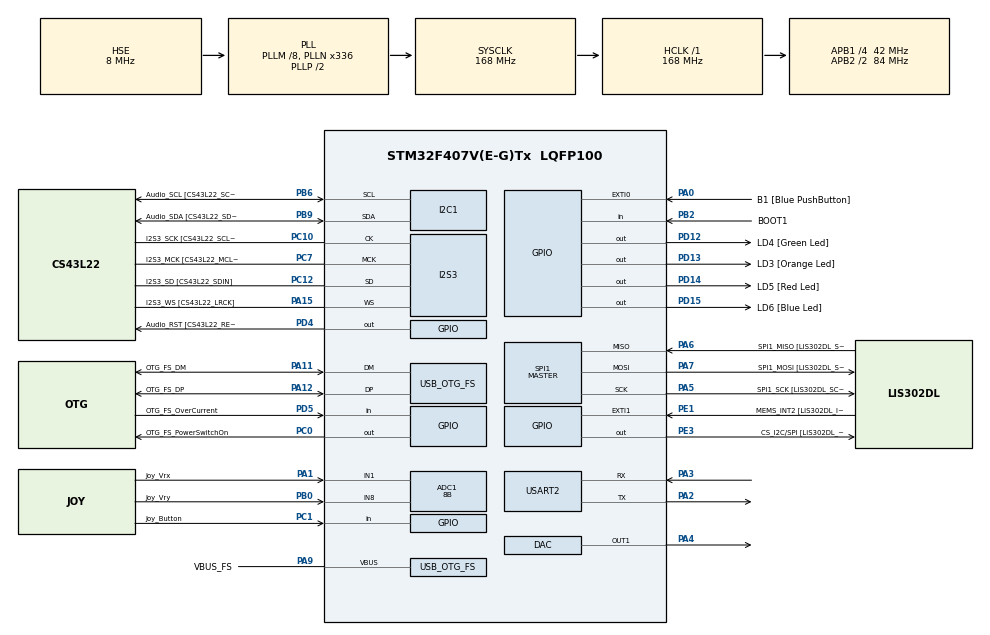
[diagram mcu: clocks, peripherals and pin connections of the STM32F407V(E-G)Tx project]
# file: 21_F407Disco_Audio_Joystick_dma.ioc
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ADC1.Channel-0\#ChannelRegularConversion=ADC_CHANNEL_1
ADC1.Channel-1\#ChannelRegularConversion=ADC_CHANNEL_8
ADC1.ClockPrescaler=ADC_CLOCK_SYNC_PCLK_DIV8
ADC1.ContinuousConvMode=ENABLE
ADC1.DMAContinuousRequests=ENABLE
ADC1.NbrOfConversion=2
ADC1.NbrOfConversionFlag=1
ADC1.Rank-0\#ChannelRegularConversion=1
ADC1.Rank-1\#ChannelRegularConversion=2
ADC1.Resolution=ADC_RESOLUTION_8B
ADC1.SamplingTime-0\#ChannelRegularConversion=ADC_SAMPLETIME_480CYCLES
ADC1.SamplingTime-1\#ChannelRegularConversion=ADC_SAMPLETIME_480CYCLES
ADC1.ScanConvMode=ENABLE
ADC1.master=1
Dma.ADC1.1.Direction=DMA_PERIPH_TO_MEMORY
Dma.ADC1.1.FIFOMode=DMA_FIFOMODE_DISABLE
Dma.ADC1.1.Instance=DMA2_Stream0
Dma.ADC1.1.MemDataAlignment=DMA_MDATAALIGN_BYTE
Dma.ADC1.1.MemInc=DMA_MINC_ENABLE
Dma.ADC1.1.Mode=DMA_CIRCULAR
Dma.ADC1.1.PeriphDataAlignment=DMA_PDATAALIGN_BYTE
Dma.ADC1.1.PeriphInc=DMA_PINC_DISABLE
Dma.ADC1.1.Priority=DMA_PRIORITY_LOW
Dma.Request0=SPI3_TX
Dma.Request1=ADC1
Dma.SPI3_TX.0.Direction=DMA_MEMORY_TO_PERIPH
Dma.SPI3_TX.0.FIFOMode=DMA_FIFOMODE_ENABLE
Dma.SPI3_TX.0.FIFOThreshold=DMA_FIFO_THRESHOLD_FULL
Dma.SPI3_TX.0.Instance=DMA1_Stream5
Dma.SPI3_TX.0.MemBurst=DMA_MBURST_SINGLE
Dma.SPI3_TX.0.MemDataAlignment=DMA_MDATAALIGN_HALFWORD
Dma.SPI3_TX.0.MemInc=DMA_MINC_ENABLE
Dma.SPI3_TX.0.Mode=DMA_CIRCULAR
Dma.SPI3_TX.0.PeriphBurst=DMA_PBURST_SINGLE
Dma.SPI3_TX.0.PeriphDataAlignment=DMA_PDATAALIGN_HALFWORD
Dma.SPI3_TX.0.PeriphInc=DMA_PINC_DISABLE
Dma.SPI3_TX.0.Priority=DMA_PRIORITY_LOW
I2S3.AudioFreq=I2S_AUDIOFREQ_48K
I2S3.ErrorAudioFreq=-2.34 %
I2S3.FullDuplexMode=I2S_FULLDUPLEXMODE_DISABLE
I2S3.Instance=SPI$Index
I2S3.RealAudioFreq=46.875 KHz
I2S3.VirtualMode=I2S_MODE_MASTER
Mcu.Family=STM32F4
Mcu.Name=STM32F407V(E-G)Tx
Mcu.Package=LQFP100
NVIC.DMA1_Stream5_IRQn=true\:0\:0\:false\:false\:true\:false\:true
NVIC.DMA2_Stream0_IRQn=true\:0\:0\:false\:false\:true\:false\:true
NVIC.OTG_FS_IRQn=true\:0\:0\:false\:false\:true\:true\:true
NVIC.PriorityGroup=NVIC_PRIORITYGROUP_0
NVIC.TIM2_IRQn=true\:0\:0\:false\:false\:true\:true\:true
PA0-WKUP.GPIO_Label=B1 [Blue PushButton]
PA0-WKUP.GPIO_ModeDefaultEXTI=GPIO_MODE_EVT_RISING
PA0-WKUP.GPIO_PuPd=GPIO_NOPULL
PA0-WKUP.Signal=GPXTI0
PA1.GPIO_Label=Joy_Vrx
PA1.Signal=ADCx_IN1
PA10.GPIO_Label=OTG_FS_ID
PA10.GPIO_Mode=GPIO_MODE_AF_PP
PA10.GPIO_PuPd=GPIO_NOPULL
PA10.GPIO_Speed=GPIO_SPEED_FREQ_LOW
PA10.Signal=USB_OTG_FS_ID
PA11.GPIO_Label=OTG_FS_DM
PA11.GPIO_Mode=GPIO_MODE_AF_PP
PA11.GPIO_PuPd=GPIO_NOPULL
PA11.GPIO_Speed=GPIO_SPEED_FREQ_LOW
PA11.Mode=Host_Only
PA11.Signal=USB_OTG_FS_DM
PA12.GPIO_Label=OTG_FS_DP
PA12.GPIO_Mode=GPIO_MODE_AF_PP
PA12.GPIO_PuPd=GPIO_NOPULL
PA12.GPIO_Speed=GPIO_SPEED_FREQ_LOW
PA12.Mode=Host_Only
PA12.Signal=USB_OTG_FS_DP
PA13.GPIO_Label=SWDIO
PA13.Mode=Serial_Wire
PA13.Signal=SYS_JTMS-SWDIO
PA14.GPIO_Label=SWCLK
PA14.Mode=Serial_Wire
PA14.Signal=SYS_JTCK-SWCLK
PA15.GPIO_Label=I2S3_WS [CS43L22_LRCK]
PA15.GPIO_Mode=GPIO_MODE_AF_PP
PA15.GPIO_PuPd=GPIO_NOPULL
PA15.GPIO_Speed=GPIO_SPEED_FREQ_LOW
PA15.Mode=Half_Duplex_Master
PA15.Signal=I2S3_WS
PA2.Mode=Asynchronous
PA2.Signal=USART2_TX
PA3.Mode=Asynchronous
PA3.Signal=USART2_RX
PA4.Signal=COMP_DAC1_group
PA5.GPIO_Label=SPI1_SCK [LIS302DL_SCL/SPC]
PA5.GPIO_Mode=GPIO_MODE_AF_PP
PA5.GPIO_PuPd=GPIO_NOPULL
PA5.GPIO_Speed=GPIO_SPEED_FREQ_LOW
PA5.Mode=Full_Duplex_Master
PA5.Signal=SPI1_SCK
PA6.GPIO_Label=SPI1_MISO [LIS302DL_SDO]
PA6.GPIO_Mode=GPIO_MODE_AF_PP
PA6.GPIO_PuPd=GPIO_NOPULL
PA6.GPIO_Speed=GPIO_SPEED_FREQ_LOW
PA6.Mode=Full_Duplex_Master
PA6.Signal=SPI1_MISO
PA7.GPIO_Label=SPI1_MOSI [LIS302DL_SDA/SDI/SDO]
PA7.GPIO_Mode=GPIO_MODE_AF_PP
PA7.GPIO_PuPd=GPIO_NOPULL
PA7.GPIO_Speed=GPIO_SPEED_FREQ_LOW
PA7.Mode=Full_Duplex_Master
PA7.Signal=SPI1_MOSI
PA9.GPIO_Label=VBUS_FS
PA9.GPIO_Mode=GPIO_MODE_INPUT
PA9.GPIO_PuPd=GPIO_NOPULL
PA9.Mode=Activate_VBUS
PA9.Signal=USB_OTG_FS_VBUS
PB0.GPIO_Label=Joy_Vry
PB0.Signal=ADCx_IN8
PB10.GPIO_Label=CLK_IN [MP45DT02_CLK]
PB10.GPIO_Mode=GPIO_MODE_AF_PP
PB10.GPIO_PuPd=GPIO_NOPULL
PB10.GPIO_Speed=GPIO_SPEED_FREQ_LOW
PB10.Signal=I2S2_CK
PB2.GPIO_Label=BOOT1
PB2.GPIO_Mode=GPIO_MODE_INPUT
PB2.GPIO_PuPd=GPIO_NOPULL
PB2.Signal=GPIO_Input
PB3.GPIO_Label=SWO
PB3.Signal=SYS_JTDO-SWO
PB6.GPIO_Label=Audio_SCL [CS43L22_SCL]
PB6.GPIO_Mode=GPIO_MODE_AF_OD
PB6.GPIO_PuPd=GPIO_NOPULL
PB6.GPIO_Speed=GPIO_SPEED_FREQ_LOW
PB6.Mode=I2C
PB6.Signal=I2C1_SCL
PB9.GPIO_Label=Audio_SDA [CS43L22_SDA]
PB9.GPIO_Mode=GPIO_MODE_AF_OD
PB9.GPIO_PuPd=GPIO_NOPULL
PB9.GPIO_Speed=GPIO_SPEED_FREQ_LOW
PB9.Mode=I2C
PB9.Signal=I2C1_SDA
PC0.GPIO_Label=OTG_FS_PowerSwitchOn
PC0.GPIO_PuPd=GPIO_NOPULL
PC0.GPIO_Speed=GPIO_SPEED_FREQ_LOW
PC0.PinState=GPIO_PIN_SET
PC0.Signal=GPIO_Output
PC1.GPIO_Label=Joy_Button
PC1.Signal=GPIO_Input
PC10.GPIO_Label=I2S3_SCK [CS43L22_SCLK]
PC10.GPIO_Mode=GPIO_MODE_AF_PP
PC10.GPIO_PuPd=GPIO_NOPULL
PC10.GPIO_Speed=GPIO_SPEED_FREQ_LOW
PC10.Mode=Half_Duplex_Master
PC10.Signal=I2S3_CK
PC12.GPIO_Label=I2S3_SD [CS43L22_SDIN]
PC12.GPIO_Mode=GPIO_MODE_AF_PP
PC12.GPIO_PuPd=GPIO_NOPULL
PC12.GPIO_Speed=GPIO_SPEED_FREQ_LOW
PC12.Mode=Half_Duplex_Master
PC12.Signal=I2S3_SD
PC14-OSC32_IN.GPIO_Label=PC14-OSC32_IN
PC14-OSC32_IN.Signal=RCC_OSC32_IN
PC15-OSC32_OUT.GPIO_Label=PC15-OSC32_OUT
PC15-OSC32_OUT.Signal=RCC_OSC32_OUT
PC3.GPIO_Label=PDM_OUT [MP45DT02_DOUT]
PC3.GPIO_Mode=GPIO_MODE_AF_PP
PC3.GPIO_PuPd=GPIO_NOPULL
PC3.GPIO_Speed=GPIO_SPEED_FREQ_LOW
PC3.Signal=I2S2_SD
PC7.GPIO_Label=I2S3_MCK [CS43L22_MCLK]
PC7.GPIO_Mode=GPIO_MODE_AF_PP
PC7.GPIO_PuPd=GPIO_NOPULL
PC7.GPIO_Speed=GPIO_SPEED_FREQ_LOW
PC7.Mode=Master_Clock_Activated
PC7.Signal=I2S3_MCK
PD12.GPIO_Label=LD4 [Green Led]
PD12.GPIO_PuPd=GPIO_NOPULL
PD12.GPIO_Speed=GPIO_SPEED_FREQ_LOW
PD12.Signal=GPIO_Output
PD13.GPIO_Label=LD3 [Orange Led]
PD13.GPIO_PuPd=GPIO_NOPULL
PD13.GPIO_Speed=GPIO_SPEED_FREQ_LOW
PD13.Signal=GPIO_Output
PD14.GPIO_Label=LD5 [Red Led]
PD14.GPIO_PuPd=GPIO_NOPULL
PD14.GPIO_Speed=GPIO_SPEED_FREQ_LOW
PD14.Signal=GPIO_Output
PD15.GPIO_Label=LD6 [Blue Led]
PD15.GPIO_PuPd=GPIO_NOPULL
PD15.GPIO_Speed=GPIO_SPEED_FREQ_LOW
PD15.Signal=GPIO_Output
PD4.GPIO_Label=Audio_RST [CS43L22_RESET]
PD4.GPIO_PuPd=GPIO_NOPULL
PD4.GPIO_Speed=GPIO_SPEED_FREQ_LOW
PD4.Signal=GPIO_Output
PD5.GPIO_Label=OTG_FS_OverCurrent
PD5.GPIO_Mode=GPIO_MODE_INPUT
PD5.GPIO_PuPd=GPIO_NOPULL
PD5.Signal=GPIO_Input
PE1.GPIO_Label=MEMS_INT2 [LIS302DL_INT2]
PE1.GPIO_ModeDefaultEXTI=GPIO_MODE_EVT_RISING
PE1.GPIO_PuPd=GPIO_NOPULL
PE1.Signal=GPXTI1
PE3.GPIO_Label=CS_I2C/SPI [LIS302DL_CS_I2C/SPI]
PE3.GPIO_PuPd=GPIO_NOPULL
PE3.GPIO_Speed=GPIO_SPEED_FREQ_LOW
PE3.Signal=GPIO_Output
PH0-OSC_IN.GPIO_Label=PH0-OSC_IN
PH0-OSC_IN.Mode=HSE-External-Oscillator
PH0-OSC_IN.Signal=RCC_OSC_IN
PH1-OSC_OUT.GPIO_Label=PH1-OSC_OUT
PH1-OSC_OUT.Mode=HSE-External-Oscillator
PH1-OSC_OUT.Signal=RCC_OSC_OUT
ProjectManager.HeapSize=0x200
ProjectManager.StackSize=0x400
ProjectManager.TargetToolchain=SW4STM32
RCC.48MHZClocksFreq_Value=48000000
RCC.AHBFreq_Value=168000000
RCC.APB1CLKDivider=RCC_HCLK_DIV4
RCC.APB1Freq_Value=42000000
RCC.APB1TimFreq_Value=84000000
RCC.APB2CLKDivider=RCC_HCLK_DIV2
RCC.APB2Freq_Value=84000000
RCC.APB2TimFreq_Value=168000000
RCC.CortexFreq_Value=168000000
RCC.HCLKFreq_Value=168000000
RCC.HSE_VALUE=8000000
RCC.HSI_VALUE=16000000
RCC.LSE_VALUE=32768
RCC.PLLM=8
RCC.PLLN=336
RCC.PLLQ=7
RCC.SYSCLKFreq_VALUE=168000000
RCC.SYSCLKSource=RCC_SYSCLKSOURCE_PLLCLK
RCC.VCOOutputFreq_Value=336000000
SH.ADCx_IN1.0=ADC1_IN1,IN1
SH.ADCx_IN8.0=ADC1_IN8,IN8
SH.COMP_DAC1_group.0=DAC_OUT1,DAC_OUT1
SPI1.BaudRatePrescaler-Full_Duplex_Master=SPI_BAUDRATEPRESCALER_2
SPI1.CalculateBaudRate-Full_Duplex_Master=42.0 MBits/s
SPI1.Direction=SPI_DIRECTION_2LINES
SPI1.Mode=SPI_MODE_MASTER
SPI1.Mode-Full_Duplex_Master=SPI_MODE_MASTER
SPI1.VirtualType=VM_MASTER
TIM2.Period=2-1
TIM2.Prescaler=84-1
TIM2.TIM_MasterOutputTrigger=TIM_TRGO_UPDATE
USART2.VirtualMode=VM_ASYNC
USB_HOST.BSP.number=1
USB_HOST.USBH_HandleTypeDef-CDC_FS=hUsbHostFS
USB_HOST.VirtualModeFS=Cdc
USB_HOST0.BSP.STBoard=false
USB_HOST0.BSP.api=Unknown
USB_HOST0.BSP.i2caddr=0
USB_HOST0.BSP.i2creg=0
USB_HOST0.BSP.instance=PC0
USB_HOST0.BSP.ip=GPIO
USB_HOST0.BSP.mode=Output
USB_HOST0.BSP.name=Drive_VBUS_FS
USB_HOST0.BSP.solution=PC0
USB_OTG_FS.VirtualMode=Host_Only
USB_OTG_FS.phy_itface=HCD_PHY_EMBEDDED
VP_TIM2_VS_ClockSourceINT.Mode=Internal
VP_USB_HOST_VS_USB_HOST_CDC_FS.Mode=CDC_FS
board=STM32F407G-DISC1

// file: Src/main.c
/* USER CODE BEGIN Header */
/**
 ******************************************************************************
 * @file           : main.c
 * @brief          : Main program body
 ******************************************************************************
 * @attention
 *
 * <h2><center>&copy; Copyright (c) 2021 STMicroelectronics.
 * All rights reserved.</center></h2>
 *
 * This software component is licensed by ST under Ultimate Liberty license
 * SLA0044, the "License"; You may not use this file except in compliance with
 * the License. You may obtain a copy of the License at:
 *                             www.st.com/SLA0044
 *
 ******************************************************************************
 */
/* USER CODE END Header */
#include "main.h"
#include "adc.h"
#include "dac.h"
#include "dma.h"
#include "i2c.h"
#include "i2s.h"
#include "spi.h"
#include "tim.h"
#include "usart.h"
#include "usb_host.h"
#include "gpio.h"

/* USER CODE BEGIN Includes */
#include "audio/MY_CS43L22.h"
#include <string.h>

/* USER CODE END Includes */

/* USER CODE BEGIN PV */
uint8_t adcBuffer[2];
uint16_t I2S_dummy[4];
uint8_t vrx, vry, old_vrx=0, old_vry=0;
GPIO_PinState button, old_button=0;
uint8_t mode;
/* USER CODE END PV */

void SystemClock_Config(void);
void MX_USB_HOST_Process(void);
int indexOfP(char);

/* USER CODE BEGIN PFP */
int proche(uint8_t v1, uint8_t v2);
char arrChar[36] =
 { 'a',
   'b',
   'c',
   'd',
   'e',
   'f',
   'g',
   'h',
   'i',
   'j',
   'k',
   'l',
   'm',
   'n',
   'o',
   'p',
   'q',
   'r',
   's',
   't',
   'u',
   'v',
   'w',
   'x',
   'y',
   'z',
   '0',
   '1',
   '2',
   '3',
   '4',
   '5',
   '6',
   '7',
   '8',
   '9',
 };
 char arrMorse[36][6] =
 { "._",
   "_...",
   "_._.",
   "_..",
   ".",
   ".._.",
   "__.",
   "....",
   "..",
   ".___",
   "_._",
   "._..",
   "__",
   "_.",
   "___",
   ".__.",
   "__._",
   ".__.",
   "...",
   "_",
   ".._",
   "..._",
   ".__",
   "_.._",
   "_.__",
   "__..",
   "_____",
   ".____",
   "..___",
   "...__",
   "...._",
   ".....",
   "_....",
   "__...",
   "___..",
   "____.",
 };
/* USER CODE END PFP */

int main(void)
{

  /* MCU Configuration--------------------------------------------------------*/

  /* Reset of all peripherals, Initializes the Flash interface and the Systick. */
  HAL_Init();

  /* Configure the system clock */
  SystemClock_Config();

  /* Initialize all configured peripherals */
  MX_GPIO_Init();
  MX_DMA_Init();
  MX_I2C1_Init();
  MX_I2S3_Init();
  MX_SPI1_Init();
  MX_USB_HOST_Init();
  MX_DAC_Init();
  MX_TIM2_Init();
  MX_ADC1_Init();
  MX_USART2_UART_Init();
  /* USER CODE BEGIN 2 */
	HAL_ADC_Start_DMA(&hadc1, (uint32_t *)adcBuffer, 2);
	  CS43_Init(hi2c1, MODE_ANALOG);
	  CS43_SetVolume(20);
	  CS43_Enable_RightLeft(CS43_RIGHT_LEFT);
	  CS43_Start();

	  HAL_I2S_Transmit_DMA(&hi2s3, (uint16_t *)I2S_dummy, 4);

	  // démarrer le DAC
	  HAL_DAC_Start(&hdac, DAC_CHANNEL_1);
	  // démarrer le TIMER2
  /* USER CODE END 2 */

  /* Infinite loop */
  /* USER CODE BEGIN WHILE */
  char message[30] = "\necrivez votre message : ";
  while (1)
  {
	  char reponse[20], retour[20];
	  ecris_txt(message);
	  read_string(&reponse,strlen(reponse));
	  sprintf(retour, "%s",reponse);
	  ecris_txt("reponse : ");
	  ecris_txt(retour);
	  ecris_txt("\n");
	  wordToMorse(retour);
    /* USER CODE END WHILE */
    MX_USB_HOST_Process();

  }
}

void SystemClock_Config(void)
{
  RCC_OscInitTypeDef RCC_OscInitStruct = {0};
  RCC_ClkInitTypeDef RCC_ClkInitStruct = {0};

  /** Configure the main internal regulator output voltage
  */
  __HAL_RCC_PWR_CLK_ENABLE();
  __HAL_PWR_VOLTAGESCALING_CONFIG(PWR_REGULATOR_VOLTAGE_SCALE1);
  /** Initializes the RCC Oscillators according to the specified parameters
  * in the RCC_OscInitTypeDef structure.
  */
  RCC_OscInitStruct.OscillatorType = RCC_OSCILLATORTYPE_HSE;
  RCC_OscInitStruct.HSEState = RCC_HSE_ON;
  RCC_OscInitStruct.PLL.PLLState = RCC_PLL_ON;
  RCC_OscInitStruct.PLL.PLLSource = RCC_PLLSOURCE_HSE;
  RCC_OscInitStruct.PLL.PLLM = 8;
  RCC_OscInitStruct.PLL.PLLN = 336;
  RCC_OscInitStruct.PLL.PLLP = RCC_PLLP_DIV2;
  RCC_OscInitStruct.PLL.PLLQ = 7;
  if (HAL_RCC_OscConfig(&RCC_OscInitStruct) != HAL_OK)
  {
    Error_Handler();
  }
  /** Initializes the CPU, AHB and APB buses clocks
  */
  RCC_ClkInitStruct.ClockType = RCC_CLOCKTYPE_HCLK|RCC_CLOCKTYPE_SYSCLK
                              |RCC_CLOCKTYPE_PCLK1|RCC_CLOCKTYPE_PCLK2;
  RCC_ClkInitStruct.SYSCLKSource = RCC_SYSCLKSOURCE_PLLCLK;
  RCC_ClkInitStruct.AHBCLKDivider = RCC_SYSCLK_DIV1;
  RCC_ClkInitStruct.APB1CLKDivider = RCC_HCLK_DIV4;
  RCC_ClkInitStruct.APB2CLKDivider = RCC_HCLK_DIV2;

  if (HAL_RCC_ClockConfig(&RCC_ClkInitStruct, FLASH_LATENCY_5) != HAL_OK)
  {
    Error_Handler();
  }
}

/* USER CODE BEGIN 4 */
#define DELTA 20
int proche(uint8_t v1, uint8_t v2) {
	int diff=(int)v1-(int)v2;
	diff=(diff<0)?-diff:diff;
	return diff<DELTA;
}
void ecris_char(uint8_t car){
	HAL_UART_Transmit(&huart2,&car,1,1000);
}

void ecris_txt(uint8_t *txt){
	int i;
	for(i=0;i<strlen(txt);i++) {
		ecris_char(txt[i]);
	}
}

unsigned char* lis_txt(char *txt) {
	txt[0]='\0';
	while(!txt[0])
		HAL_UART_Receive(&huart2, txt, 1, 1000);
	ecris_char(*txt);
	return txt;
}

void read_string(unsigned char* txt, size_t size)
{

    unsigned char current;
    current = *lis_txt(&current);

    size_t currSize = 0;
    while (current != '\r' && current != '\n' && currSize < size - 1)
    {
        txt[currSize++] = current;
        current = *lis_txt(&current);
    }
    txt[currSize] = '\0';
    ecris_char('\r');
}

char* charToMorse(char *retour,char charactere) {
    strcpy(retour, arrMorse[indexOfP(charactere)]);
    char txt[20];
    /*sprintf(txt, "trouve %s\n\r",retour);
    ecris_txt(txt);*/
    return retour;
}

void morseToLight(char* tab,char* morse) {
	char txt[20];
	sprintf(txt, "trouve %s\n\r",morse);
	ecris_txt(txt);
    for (int i = 0; i < nbInstance(morse); i++) {
    	char txt[20];
    	sprintf(txt,"morse %c\n\r",morse[i]);
    	ecris_txt(txt);
        if(morse[i] == '.') {
        	HAL_GPIO_WritePin(LD6_GPIO_Port, LD6_Pin, GPIO_PIN_SET);
    		HAL_DAC_SetValue(&hdac, DAC_CHANNEL_1, DAC_ALIGN_8B_R, 255);
        	HAL_Delay(100);
        } else {
        	HAL_GPIO_WritePin(LD6_GPIO_Port, LD6_Pin, GPIO_PIN_SET);
    		HAL_DAC_SetValue(&hdac, DAC_CHANNEL_1, DAC_ALIGN_8B_R, 255);
        	HAL_Delay(300);
        }
		HAL_DAC_SetValue(&hdac, DAC_CHANNEL_1, DAC_ALIGN_8B_R, 0);
       	HAL_GPIO_WritePin(LD6_GPIO_Port, LD6_Pin, GPIO_PIN_RESET);
        HAL_Delay(100);
    }
    HAL_Delay(700);
}
void wordToMorse(char *word) {
	char tableau[15];
	char tableau2[15];

    for (int i = 0; i < strlen(word); i++) {
  	  /*ecris_txt("word i : ");
  	  ecris_char(word[i]);
  	  ecris_txt("\n");*/
      morseToLight(tableau2,charToMorse(tableau, word[i]));
    }
}

int indexOfP(char charracter){
	for(int i = 0;  i < sizeof(arrChar); i++){
		char txt[20];
		/*sprintf(txt, "arrchar %c\n\r",arrChar[i]);
		ecris_txt(txt);*/

		if(arrChar[i] == charracter){
			char txt[20];
			/*sprintf(txt, "trouve %c\n\r",arrChar[i]);
			ecris_txt(txt);*/
			return i;
		}
	}
	return 0;
}

int nbInstance(char* alu){
	int i = 0;
	while(alu[i] != '\0'){
		i++;
	}
	return i;
}
/* USER CODE END 4 */

void Error_Handler(void)
{
}
